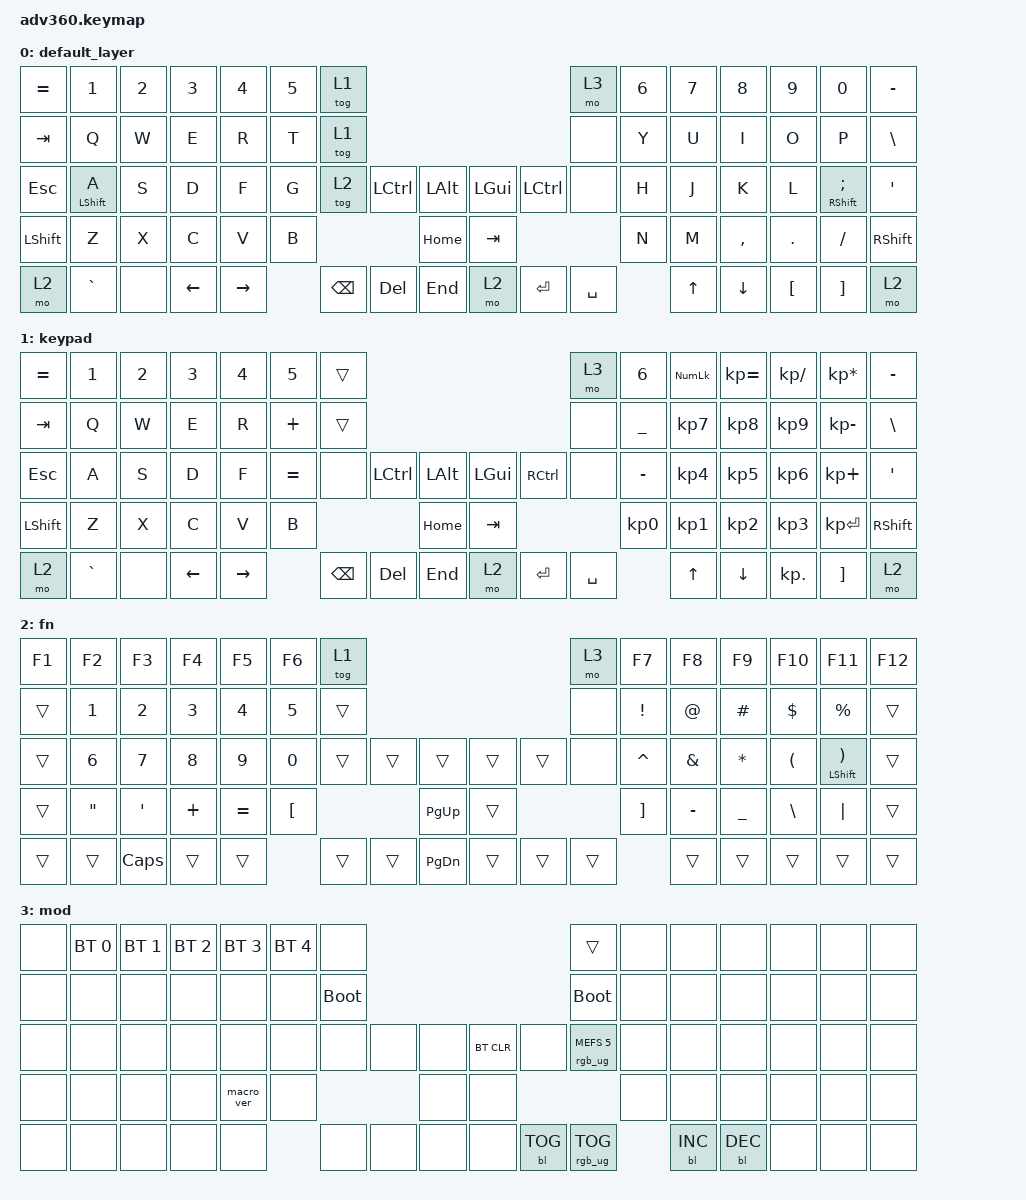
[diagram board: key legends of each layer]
#include <behaviors.dtsi>
#include <dt-bindings/zmk/keys.h>
#include <dt-bindings/zmk/bt.h>
#include <dt-bindings/zmk/rgb.h>
#include <dt-bindings/zmk/stp.h>
#include <dt-bindings/zmk/backlight.h>
#include <dt-bindings/zmk/pointing.h>

/ {
    behaviors {
      #include "macros.dtsi"
      #include "version.dtsi"

      hm: homerow_mods {
          compatible = "zmk,behavior-hold-tap";
          label = "HOMEROW_MODS";
          #binding-cells = <2>;
          tapping-term-ms = <200>;
          quick_tap_ms = <175>;
          flavor = "tap-preferred";
          bindings = <&kp>, <&kp>;
      };
    };

 keymap {
        compatible = "zmk,keymap";

        default_layer {
            bindings = <
&kp EQUAL  &kp N1            &kp N2  &kp N3    &kp N4     &kp N5  &tog 1                                                          &mo 3      &kp N6  &kp N7  &kp N8     &kp N9    &kp N0                     &kp MINUS
&kp TAB    &kp Q             &kp W   &kp E     &kp R      &kp T   &tog 1                                                          &none      &kp Y   &kp U   &kp I      &kp O     &kp P                      &kp BSLH
&kp ESC    &hm LEFT_SHIFT A  &kp S   &kp D     &kp F      &kp G   &tog 2    &kp LCTRL   &kp LALT      &kp LGUI  &kp LEFT_CONTROL  &none      &kp H   &kp J   &kp K      &kp L     &hm RIGHT_SHIFT SEMICOLON  &kp SQT
&kp LSHFT  &kp Z             &kp X   &kp C     &kp V      &kp B                         &kp HOME      &kp TAB                                &kp N   &kp M   &kp COMMA  &kp DOT   &kp FSLH                   &kp RSHFT
&mo 2      &kp GRAVE         &none   &kp LEFT  &kp RIGHT          &kp BSPC  &kp DELETE  &kp END       &mo 2     &kp ENTER         &kp SPACE          &kp UP  &kp DOWN   &kp LBKT  &kp RBKT                   &mo 2
            >;
        };

        keypad {
            bindings = <
&kp EQUAL  &kp N1     &kp N2  &kp N3    &kp N4     &kp N5     &trans                                                  &mo 3      &kp N6           &kp KP_NUM  &kp KP_EQUAL  &kp KP_DIVIDE  &kp KP_MULTIPLY  &kp MINUS
&kp TAB    &kp Q      &kp W   &kp E     &kp R      &kp PLUS   &trans                                                  &none      &kp UNDERSCORE   &kp KP_N7   &kp KP_N8     &kp KP_N9      &kp KP_MINUS     &kp BSLH
&kp ESC    &kp A      &kp S   &kp D     &kp F      &kp EQUAL  &none     &kp LCTRL  &kp LALT      &kp LGUI  &kp RCTRL  &none      &kp MINUS        &kp KP_N4   &kp KP_N5     &kp KP_N6      &kp KP_PLUS      &kp SQT
&kp LSHFT  &kp Z      &kp X   &kp C     &kp V      &kp B                           &kp HOME      &kp TAB                         &kp KP_NUMBER_0  &kp KP_N1   &kp KP_N2     &kp KP_N3      &kp KP_ENTER     &kp RSHFT
&mo 2      &kp GRAVE  &none   &kp LEFT  &kp RIGHT             &kp BSPC  &kp DEL    &kp END       &mo 2     &kp ENTER  &kp SPACE                   &kp UP      &kp DOWN      &kp KP_DOT     &kp RBKT         &mo 2
            >;
        };

        fn {
            bindings = <
&kp F1  &kp F2             &kp F3        &kp F4        &kp F5        &kp F6            &tog 1                                             &mo 3   &kp F7             &kp F8         &kp F9          &kp F10               &kp F11                           &kp F12
&trans  &kp NUMBER_1       &kp NUMBER_2  &kp NUMBER_3  &kp NUMBER_4  &kp NUMBER_5      &trans                                             &none   &kp EXCLAMATION    &kp AT_SIGN    &kp HASH        &kp DOLLAR            &kp PERCENT                       &trans
&trans  &kp NUMBER_6       &kp NUMBER_7  &kp NUMBER_8  &kp NUMBER_9  &kp NUMBER_0      &trans  &trans  &trans             &trans  &trans  &none   &kp CARET          &kp AMPERSAND  &kp ASTERISK    &kp LEFT_PARENTHESIS  &hm LEFT_SHIFT RIGHT_PARENTHESIS  &trans
&trans  &kp DOUBLE_QUOTES  &kp SQT       &kp PLUS      &kp EQUAL     &kp LEFT_BRACKET                  &kp PAGE_UP        &trans                  &kp RIGHT_BRACKET  &kp MINUS      &kp UNDERSCORE  &kp BACKSLASH         &kp PIPE                          &trans
&trans  &trans             &kp CAPSLOCK  &trans        &trans                          &trans  &trans  &kp PAGE_DOWN      &trans  &trans  &trans                     &trans         &trans          &trans                &trans                            &trans
            >;
        };

        mod {
            bindings = <
&none  &bt BT_SEL 0  &bt BT_SEL 1  &bt BT_SEL 2  &bt BT_SEL 3  &bt BT_SEL 4  &none                                                  &trans                  &none  &none       &none       &none  &none  &none
&none  &none         &none         &none         &none         &none         &bootloader                                            &bootloader             &none  &none       &none       &none  &none  &none
&none  &none         &none         &none         &none         &none         &none        &none  &none      &bt BT_CLR  &none       &rgb_ug RGB_MEFS_CMD 5  &none  &none       &none       &none  &none  &none
&none  &none         &none         &none         &macro_ver    &none                             &none      &none                                           &none  &none       &none       &none  &none  &none
&none  &none         &none         &none         &none                       &none        &none  &none      &none       &bl BL_TOG  &rgb_ug RGB_TOG                &bl BL_INC  &bl BL_DEC  &none  &none  &none
            >;
        };
    extra1 { 
      display-name = "Red";    
      status = "reserved";
    };

    extra2 { 
      display-name = "Purple";    
      status = "reserved";
    };

    extra3 { 
      display-name = "Cyan";    
      status = "reserved";
    };

    extra4 { 
      display-name = "Yellow";    
      status = "reserved";
    };
  };
};
